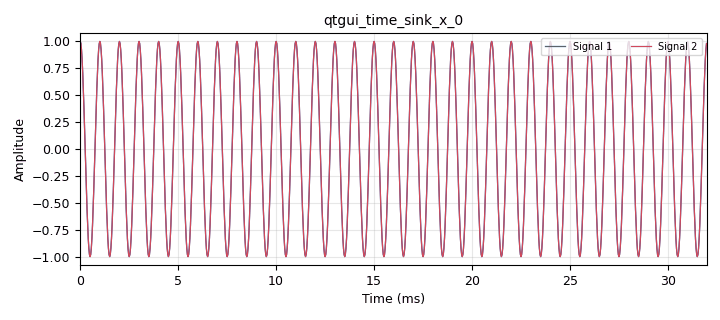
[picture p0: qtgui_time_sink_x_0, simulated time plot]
options:
  parameters:
    author: zzaw
    generate_options: qt_gui
    id: TEST_sample_and_hold_epb
    output_language: python
    title: Not titled yet
  states: {}

blocks:
- name: control
  id: variable_qtgui_chooser
  parameters:
    num_opts: '2'
    option0: '0'
    option1: '1'
    type: int
    value: '0'
  states: {}
- name: samp_rate
  id: variable
  parameters:
    value: '32000'
  states: {}
- name: sig_am
  id: variable_qtgui_range
  parameters:
    start: '0'
    step: '1e-1'
    stop: '4'
    value: '1'
  states: {}
- name: analog_const_source_x_0
  id: analog_const_source_x
  parameters:
    const: control
    type: byte
  states: {}
- name: analog_sig_source_x_0
  id: analog_sig_source_x
  parameters:
    amp: sig_am
    freq: '1000'
    offset: '0'
    phase: '0'
    samp_rate: samp_rate
    type: float
    waveform: analog.GR_COS_WAVE
  states: {}
- name: blocks_throttle_0
  id: blocks_throttle
  parameters:
    samples_per_second: samp_rate
    type: float
  states: {}
- name: blocks_uchar_to_float_0
  id: blocks_uchar_to_float
  parameters: {}
  states: {}
- name: epy_block_0
  id: epy_block
  parameters:
    _source_code: |
      """
      Embedded Python Blocks:

      Each time this file is saved, GRC will instantiate the first class it finds
      to get ports and parameters of your block. The arguments to __init__  will
      be the parameters. All of them are required to have default values!
      """

      import numpy as np
      from gnuradio import gr


      class blk(gr.sync_block):  # other base classes are basic_block, decim_block, interp_block
          """Embedded Python Block example - a simple multiply const"""

          def __init__(self):  # only default arguments here
              """arguments to this function show up as parameters in GRC"""
              gr.sync_block.__init__(
                  self,
                  name='Sample and Hold (epb)',   # will show up in GRC
                  in_sig=[np.float32, np.int8],
                  out_sig=[np.float32, np.int8]
              )
              # if an attribute with the same name as a parameter is found,
              # a callback is registered (properties work, too).

          def work(self, input_items, output_items):
              """example: multiply with constant"""
              if input_items[1][len(input_items[1]) - 1] == 0:
                  output_items[0][:] = input_items[0]
              output_items[1][:] = input_items[1]
              return len(output_items[0])
  states: {}
- name: qtgui_time_sink_x_0
  id: qtgui_time_sink_x
  parameters:
    ctrlpanel: 'True'
    grid: 'True'
    nconnections: '2'
    size: '1024'
    srate: samp_rate
    type: float
  states: {}
- name: qtgui_time_sink_x_1
  id: qtgui_time_sink_x
  parameters:
    size: '1024'
    srate: samp_rate
    type: float
  states: {}

connections:
- [analog_const_source_x_0, '0', epy_block_0, '1']
- [analog_sig_source_x_0, '0', blocks_throttle_0, '0']
- [analog_sig_source_x_0, '0', epy_block_0, '0']
- [blocks_throttle_0, '0', qtgui_time_sink_x_0, '0']
- [blocks_uchar_to_float_0, '0', qtgui_time_sink_x_1, '0']
- [epy_block_0, '0', qtgui_time_sink_x_0, '1']
- [epy_block_0, '1', blocks_uchar_to_float_0, '0']

metadata:
  file_format: 1
  grc_version: 3.10.4.0
